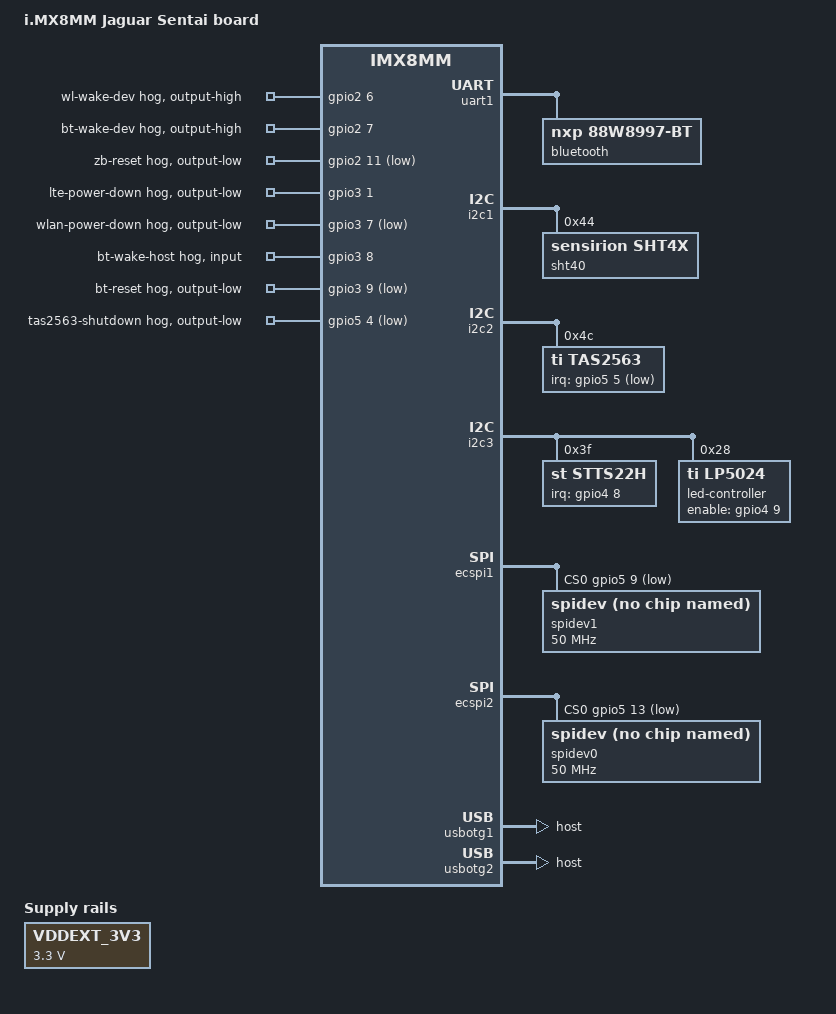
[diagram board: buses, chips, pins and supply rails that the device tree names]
// SPDX-License-Identifier: (GPL-2.0 OR MIT)
/*
 * Copyright 2020 NXP
 */

#include "freescale/imx8mm-evk.dts"
#include <dt-bindings/gpio/gpio.h>
#include <dt-bindings/leds/common.h>

/ {
        model = "i.MX8MM Jaguar Sentai board";

	// Regulators
	regulator-vddext {
		compatible = "regulator-fixed";
		regulator-name = "VDDEXT_3V3";
		regulator-min-microvolt = <3300000>;
		regulator-max-microvolt = <3300000>;
	};

	sound-tas2563 {
                compatible = "simple-audio-card";
                simple-audio-card,name = "tas2563-audio";
                simple-audio-card,format = "i2s";
                simple-audio-card,frame-master = <&cpudai2>;
                simple-audio-card,bitclock-master = <&cpudai2>;
                //simple-audio-card,widgets =
                //      "Line", "Left Line Out Jack",
                //      "Line", "Right Line Out Jack";
                //simple-audio-card,routing =
                //      "Left Line Out Jack", "LINEVOUTL",
                //      "Right Line Out Jack", "LINEVOUTR";

                cpudai2: simple-audio-card,cpu {
                        sound-dai = <&sai3>;
                        dai-tdm-slot-num = <2>;
                        dai-tdm-slot-width = <32>;
                };

                simple-audio-card,codec {
                        sound-dai = <&tas2563>;
                        clocks = <&clk IMX8MM_CLK_SAI3_ROOT>;
                };
        };

	sound-wm8524 {
		status = "disabled";
	};

	sound-ak4458 {
		status = "disabled";
	};

	sound-spdif {
		status = "disabled";
	};

	sound-bt-sco {
		status = "disabled";
	};

	sw-keys {
                compatible = "gpio-keys";
		status = "enabled";

                sw1: key-act {
                        label = "Key Act";
                        linux,code = <BTN_SELECT>;
                        gpios = <&gpio3 6 (GPIO_ACTIVE_LOW | GPIO_PULL_UP)>;
			interrupt-parent = <&gpio3>;
			interrupt = <6 IRQ_TYPE_EDGE_FALLING>;
                };
	};
};

&iomuxc {
        pinctrl-names = "default";
	pinctrl-0 = <&pinctrl_hog>;

	// TODO: Break these out better?
	pinctrl_hog: hoggrp {
		fsl,pins = <
			MX8MM_IOMUXC_SD1_DATA4_GPIO2_IO6	0x140  // WL_WAKE_DEV
			MX8MM_IOMUXC_SD1_DATA5_GPIO2_IO7	0x140  // BT_WAKE_DEV
                        MX8MM_IOMUXC_NAND_DATA01_GPIO3_IO7      0x140  // WIFI_PD#
			MX8MM_IOMUXC_NAND_DATA02_GPIO3_IO8	0x140  // BT_WAKE_HOST
                        MX8MM_IOMUXC_NAND_DATA03_GPIO3_IO9      0x140  // BT_RST#
                        MX8MM_IOMUXC_SAI1_RXD7_GPIO4_IO9        0x140  // LED_ENABLE
                        MX8MM_IOMUXC_SAI1_TXFS_GPIO4_IO10       0x140  // CODEC_IRQ#
                        MX8MM_IOMUXC_SPDIF_RX_GPIO5_IO4         0x140  // CODEC_SD#
                        MX8MM_IOMUXC_SD1_STROBE_GPIO2_IO11      0x140  // ZB_RST#
                        MX8MM_IOMUXC_SAI2_RXC_GPIO4_IO22        0x140  // ZB_INT
			MX8MM_IOMUXC_NAND_CE0_B_GPIO3_IO1	0x140  // LTE_OFF
			MX8MM_IOMUXC_SAI1_RXD4_GPIO4_IO6	0x140  // SLMB_0
		>;
	};

        pinctrl_ecspi1: ecspi1grp {
                fsl,pins = <
			MX8MM_IOMUXC_ECSPI1_SS0_GPIO5_IO9	0x13
                        MX8MM_IOMUXC_ECSPI1_SCLK_ECSPI1_SCLK	0x13
                        MX8MM_IOMUXC_ECSPI1_MISO_ECSPI1_MISO	0x13
                        MX8MM_IOMUXC_ECSPI1_MOSI_ECSPI1_MOSI	0x13
                >;
        };

        pinctrl_ecspi2: ecspi2grp {
                fsl,pins = <
			MX8MM_IOMUXC_ECSPI2_SS0_GPIO5_IO13	0x96
                        MX8MM_IOMUXC_ECSPI2_SCLK_ECSPI2_SCLK	0x96
                        MX8MM_IOMUXC_ECSPI2_MOSI_ECSPI2_MOSI	0x96
			MX8MM_IOMUXC_ECSPI2_MISO_ECSPI2_MISO	0x96
			MX8MM_IOMUXC_SAI3_RXC_GPIO4_IO29	0x96  // RADAR_IRQ
			MX8MM_IOMUXC_SAI3_RXFS_GPIO4_IO28	0x96 // RADAR_RST
                >;
        };

	pinctrl_pdm: pdmgrp {
		fsl,pins = <
			MX8MM_IOMUXC_SAI1_MCLK_PDM_CLK		0xd6
			MX8MM_IOMUXC_SAI1_RXD0_PDM_DATA0	0xd6
			MX8MM_IOMUXC_SAI1_RXD1_PDM_DATA1	0xd6
			MX8MM_IOMUXC_SAI1_RXD2_PDM_DATA2	0xd6
			MX8MM_IOMUXC_SAI1_RXD3_PDM_DATA3	0xd6
		>;
	};

        pinctrl_sai2: sai2grp {
                fsl,pins = <
                        MX8MM_IOMUXC_SAI2_MCLK_SAI2_MCLK        0xd6
                        MX8MM_IOMUXC_SAI2_TXFS_SAI2_TX_SYNC     0xd6
                        MX8MM_IOMUXC_SAI2_TXC_SAI2_TX_BCLK      0xd6
                        MX8MM_IOMUXC_SAI2_TXD0_SAI2_TX_DATA0    0xd6
                        MX8MM_IOMUXC_SAI2_RXD0_SAI2_RX_DATA0    0xd6
                >;
        };

        pinctrl_sai3: sai3grp {
                fsl,pins = <
                        MX8MM_IOMUXC_SAI3_TXFS_SAI3_TX_SYNC     0xd6
                        MX8MM_IOMUXC_SAI3_TXC_SAI3_TX_BCLK      0xd6
                        MX8MM_IOMUXC_SAI3_MCLK_SAI3_MCLK        0xd6
                        MX8MM_IOMUXC_SAI3_TXD_SAI3_TX_DATA0     0xd6
                        MX8MM_IOMUXC_SPDIF_EXT_CLK_GPIO5_IO5    0xd6 // Audio codec interrupt
                >;
        };

        pinctrl_uart1: uart1grp {
                fsl,pins = <
                        MX8MM_IOMUXC_UART1_RXD_UART1_DCE_RX     0x140
                        MX8MM_IOMUXC_UART1_TXD_UART1_DCE_TX     0x140
                        MX8MM_IOMUXC_UART3_TXD_UART1_DCE_RTS_B  0x140
                        MX8MM_IOMUXC_UART3_RXD_UART1_DCE_CTS_B  0x140
                >;
        };
};

&uart1 { /* BT */
        pinctrl-names = "default";
        pinctrl-0 = <&pinctrl_uart1>;
        assigned-clocks = <&clk IMX8MM_CLK_UART1>;
        assigned-clock-parents = <&clk IMX8MM_SYS_PLL1_80M>;
        fsl,uart-has-rtscts;
        status = "okay";

        bluetooth {
                compatible = "nxp,88w8997-bt";
		fw-init-baudrate = <3000000>;
        };
};

&uart3 {
	status = "disabled";
};

&gpio2 {
	wl-wake-dev-hog {
		gpio-hog;
		gpios = <6 GPIO_ACTIVE_HIGH>;
		output-high;
		line-name = "wl-wake-dev";
	};
	bt-wake-dev-hog {
		gpio-hog;
		gpios = <7 GPIO_ACTIVE_HIGH>;
		output-high;
		line-name = "bt-wake-dev";
	};
        zb-reset-hog {
                gpio-hog;
                gpios = <11 GPIO_ACTIVE_LOW>;
                output-low;
                line-name = "zb-reset";
        };
};

&gpio3 {
	lte-power-down-hog {
		gpio-hog;
		gpios = <1 GPIO_ACTIVE_HIGH>;
		output-low;
		line-name = "lte-power-down";
	};

	wlan-power-down-hog {
		gpio-hog;
		gpios = <7 GPIO_ACTIVE_LOW>;
		output-low;
		line-name = "wlan-power-down";
	};
	bt-wake-host-hog {
		gpio-hog;
		gpios = <8 GPIO_ACTIVE_HIGH>;
		input;
		line-name = "bt-wake-host";
	};
	bt-reset-hog {
		gpio-hog;
		gpios = <9 GPIO_ACTIVE_LOW>;
		output-low;
		line-name = "bt-reset";
	};
};

//&gpio4 {
//       zb-int-hog {
//		gpio-hog;
//		gpios = <22 GPIO_ACTIVE_HIGH>;
//		input;
//		line-name = "zb-int";
//       };
//};

&gpio5 {
       audio-shutdown-hog {
		gpio-hog;
		gpios = <4 GPIO_ACTIVE_LOW>;
		output-low;
		line-name = "tas2563-shutdown";
       };
};

&fec1 {
        status = "disabled";
};

&i2c1 {
	sht40: sht40@44 {
		compatible = "sensirion,sht4x";
                reg = <0x44>;
		status = "okay";
	};
};

&i2c2 {
        ptn5110: tcpc@50 {
                status = "disabled";
	};

	// Audio Amp
        tas2563: tas2563@4C {
                #sound-dai-cells = <0>;
                compatible = "ti,tas2563";
                reg = <0x4C>;
                ti,channels = <1>; /* channel number */
//              ti,reset-gpio = <&gpio5 4 GPIO_ACTIVE_HIGH>;
                ti,irq-gpio = <&gpio5 5 GPIO_ACTIVE_LOW>;
                ti,asi-format = <0>; /* 0, i2S; 1, DSP;  */
                ti,left-slot = <0>; /* <left slot number> */
                ti,right-slot = <1>; /* <right slot number> */
                ti,imon-slot-no = <0>; /* <current sense slot number> */
                ti,vmon-slot-no = <2>; /* <current voltage slot number> */
                ti,echo-ref = <2>;
                ti,bypass-tmax = <1>; /* 0, not bypass; 1, bypass */
                ti,i2s-bits = <32>;
                status = "okay";
        };
};

&i2c3 {
	stts22h: stts22h@3F {
		compatible = "st,stts22h";
                reg = <0x3f>;
//		sampling-rate = <STTS22H_100Hz>;
		status = "okay";
		interrupt-parent = <&gpio4>;
		interrupts = <8 IRQ_TYPE_LEVEL_HIGH>;
	};

	led-controller@28 {
            #address-cells = <1>;
            #size-cells = <0>;
            compatible = "ti,lp5024";
            reg = <0x28>;
            enable-gpios = <&gpio4 9 GPIO_ACTIVE_HIGH>;

            multi-led@0 {
                #address-cells = <1>;
                #size-cells = <0>;
		label = "led5";
                reg = <0>;
//                default-intensity = <100 0 0>;
                color = <LED_COLOR_ID_RGB>;
                function = LED_FUNCTION_INDICATOR;
                led@0 {
                     reg = <0>;
                     color = <LED_COLOR_ID_RED>;
                };

                led@1 {
                     reg = <1>;
                     color = <LED_COLOR_ID_GREEN>;
                };

                led@2 {
                     reg = <2>;
                     color = <LED_COLOR_ID_BLUE>;
                };
            };

            multi-led@1 {
                #address-cells = <1>;
                #size-cells = <0>;
		label = "led1";
                reg = <1>;
//                default-intensity = <100 0 0>;
                color = <LED_COLOR_ID_RGB>;
                function = LED_FUNCTION_INDICATOR;
                led@0 {
                     reg = <12>;
                     color = <LED_COLOR_ID_RED>;
                };

                led@1 {
                     reg = <13>;
                     color = <LED_COLOR_ID_GREEN>;
                };

                led@2 {
                     reg = <14>;
                     color = <LED_COLOR_ID_BLUE>;
                };
            };

	    multi-led@2 {
                #address-cells = <1>;
                #size-cells = <0>;
		label = "led2";
                reg = <2>;
//                default-intensity = <100 0 0>;
                color = <LED_COLOR_ID_RGB>;
                function = LED_FUNCTION_INDICATOR;
                led@0 {
                     reg = <15>;
                     color = <LED_COLOR_ID_RED>;
                };

                led@1 {
                     reg = <16>;
                     color = <LED_COLOR_ID_GREEN>;
                };

                led@2 {
                     reg = <17>;
                     color = <LED_COLOR_ID_BLUE>;
                };
            };

            multi-led@3 {
                #address-cells = <1>;
                #size-cells = <0>;
		label = "led3";
                reg = <3>;
//                default-intensity = <100 0 0>;
                color = <LED_COLOR_ID_RGB>;
                function = LED_FUNCTION_INDICATOR;
                led@0 {
                     reg = <3>;
                     color = <LED_COLOR_ID_RED>;
                };

                led@1 {
                     reg = <4>;
                     color = <LED_COLOR_ID_GREEN>;
                };

                led@2 {
                     reg = <5>;
                     color = <LED_COLOR_ID_BLUE>;
                };
            };

            multi-led@4 {
                #address-cells = <1>;
                #size-cells = <0>;
		label = "led4";
                reg = <4>;
//                default-intensity = <100 0 0>;
                color = <LED_COLOR_ID_RGB>;
                function = LED_FUNCTION_INDICATOR;
                led@0 {
                     reg = <6>;
                     color = <LED_COLOR_ID_RED>;
                };

                led@1 {
                     reg = <7>;
                     color = <LED_COLOR_ID_GREEN>;
                };

                led@2 {
                     reg = <8>;
                     color = <LED_COLOR_ID_BLUE>;
                };
            };

            multi-led@5 {
                #address-cells = <1>;
                #size-cells = <0>;
		label = "led0";
                reg = <5>;
//                default-intensity = <100 0 0>;
                color = <LED_COLOR_ID_RGB>;
                function = LED_FUNCTION_INDICATOR;
                led@0 {
                     reg = <9>;
                     color = <LED_COLOR_ID_RED>;
                };

                led@1 {
                     reg = <10>;
                     color = <LED_COLOR_ID_GREEN>;
                };

                led@2 {
                     reg = <11>;
                     color = <LED_COLOR_ID_BLUE>;
                };
            };
        };

	ov5640_mipi: ov5640_mipi@3c {
		status = "disabled";
	};

	pca6416: gpio@20 {
		status = "disabled";
	};

        ak4458_1: ak4458@10 {
		status = "disabled";
	};

        ak4458_2: ak4458@12 {
		status = "disabled";
	};

        ak5558: ak5558@13 {
		status = "disabled";
	};

        ak4497: ak4497@11 {
		status = "disabled";
	};

};

&sai1 {
	status = "disabled";
};

&mipi_dsi {
       status = "disabled";
};

&spdif1 {
       status = "disabled";
};

&pcie0 {
       status = "disabled";
};

// 802.15.4
&ecspi1 {
	#address-cells = <1>;
	#size-cells = <0>;
	pinctrl-names = "default";
	pinctrl-0 = <&pinctrl_ecspi1>;
	cs-gpios = <&gpio5 9 GPIO_ACTIVE_LOW>;
        fsl,spi-num-chipselects = <1>;
	status = "okay";

        spidev1: spi@0 {
		compatible = "rohm,dh2228fv";
                spi-max-frequency = <50000000>;
                reg = <0>;
        };
};

// BGT 60TR13C E6327 radar
&ecspi2 {
	#address-cells = <1>;
	#size-cells = <0>;
	pinctrl-names = "default";
	pinctrl-0 = <&pinctrl_ecspi2>;
	cs-gpios = <&gpio5 13 GPIO_ACTIVE_LOW>;
        fsl,spi-num-chipselects = <1>;
	status = "okay";

        spidev0: spi@0 {
		compatible = "rohm,dh2228fv";
                spi-max-frequency = <50000000>;
                reg = <0>;
        };
};

&flexspi {
	status = "disabled";
};

// USB-C port
&usbotg1 {
	dr_mode = "host";
        status = "okay";
};

// Cellular modem
&usbotg2 {
	dr_mode = "host";
        status = "okay";
};
